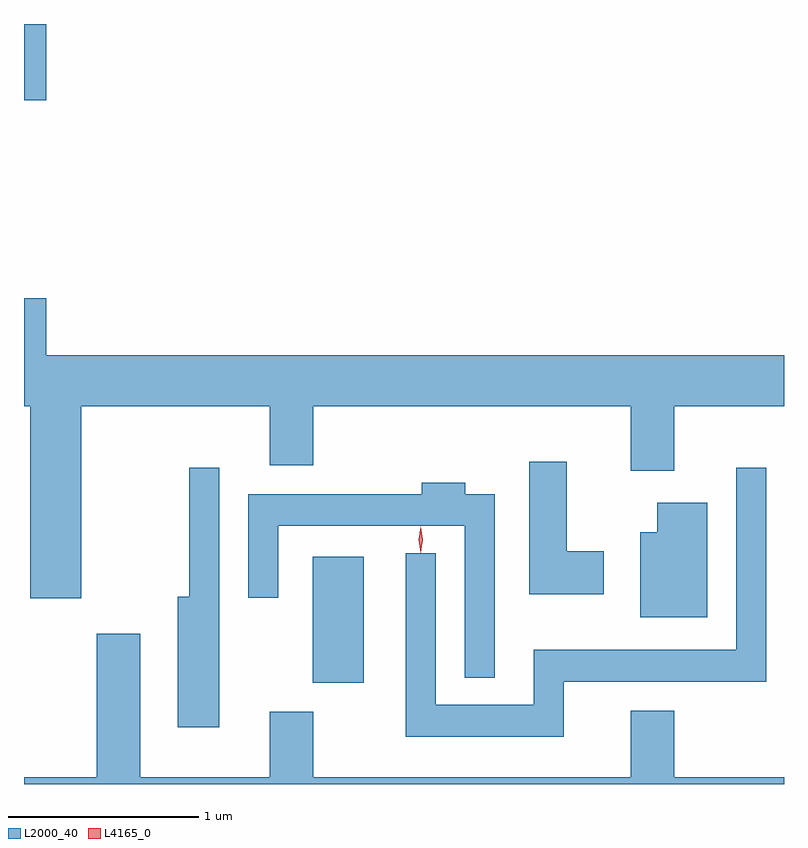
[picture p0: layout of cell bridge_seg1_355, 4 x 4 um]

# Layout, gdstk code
import gdstk
lib = gdstk.Library(unit=1e-6, precision=1e-09)
def R(c, l, rs):  # rectangles x0, y0, x1, y1
    for r in rs: c.add(gdstk.rectangle(r[:2], r[2:], *l))
def P(c, l, *ps):  # polygons
    for p in ps: c.add(gdstk.Polygon(p, *l))
L2000_40 = (2000, 40)
L4165_0 = (4165, 0)

bridge_seg1_355 = lib.new_cell('bridge_seg1_355')
R(bridge_seg1_355, L2000_40, [(936.026,875.921,936.294,876.584), (934.507,878.986,934.624,879.388)])
P(bridge_seg1_355, L2000_40, [(934.624,877.944),(934.507,877.944),(934.507,877.376),(934.541,877.376),(934.541,876.366),(934.809,876.366),(934.809,877.376),(935.801,877.376),(935.801,877.066),(936.029,877.066),(936.029,877.376),(937.701,877.376),(937.701,877.036),(937.929,877.036),(937.929,877.376),(938.507,877.376),(938.507,877.644),(934.624,877.644)],
  [(937.559,876.614),(937.364,876.614),(937.364,877.084),(937.166,877.084),(937.166,876.386),(937.559,876.386)],
  [(937.349,875.926),(938.414,875.926),(938.414,877.053),(938.256,877.053),(938.256,876.094),(937.191,876.094),(937.191,875.804),(936.674,875.804),(936.674,876.603),(936.516,876.603),(936.516,875.636),(937.349,875.636)],
  [(935.534,877.053),(935.376,877.053),(935.376,876.374),(935.316,876.374),(935.316,875.686),(935.534,875.686)],
  [(936.984,876.914),(936.829,876.914),(936.829,876.974),(936.601,876.974),(936.601,876.914),(935.686,876.914),(935.686,876.368),(935.844,876.368),(935.844,876.746),(936.826,876.746),(936.826,875.948),(936.984,875.948)],
  [(938.104,876.869),(937.841,876.869),(937.841,876.714),(937.751,876.714),(937.751,876.266),(938.104,876.266)],
  [(938.507,875.424),(937.929,875.424),(937.929,875.774),(937.701,875.774),(937.701,875.424),(936.029,875.424),(936.029,875.769),(935.801,875.769),(935.801,875.424),(935.119,875.424),(935.119,876.179),(934.891,876.179),(934.891,875.424),(934.507,875.424),(934.507,875.388),(938.507,875.388)])
P(bridge_seg1_355, L4165_0, [(936.595,876.607),(936.594,876.608),(936.585,876.674),(936.594,876.74),(936.595,876.74),(936.595,876.74),(936.605,876.674),(936.595,876.608)],
  [(936.594,876.604),(936.585,876.673),(936.594,876.742),(936.595,876.743),(936.595,876.742),(936.605,876.673),(936.595,876.604),(936.595,876.604)])

lib.write_gds('bridge_seg1_355.gds')
